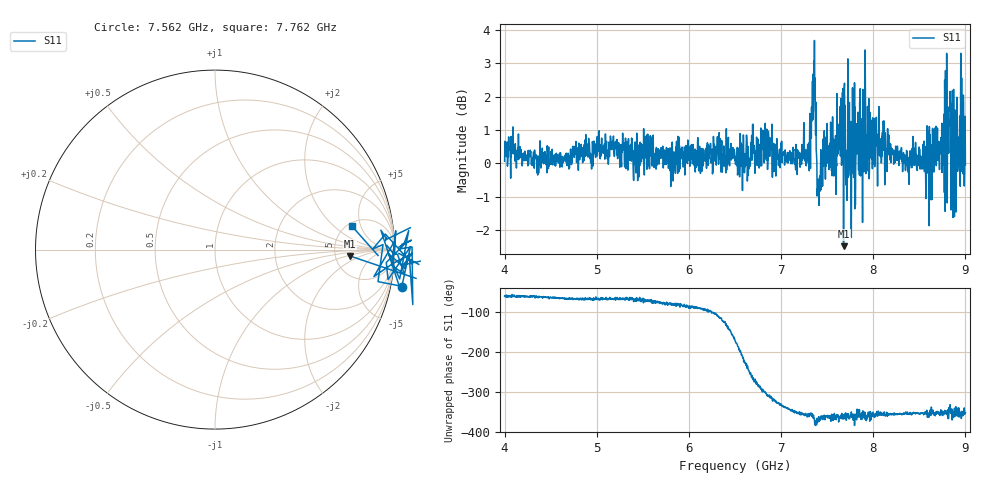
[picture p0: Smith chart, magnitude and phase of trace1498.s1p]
! Created with skrf 1.8.0 (http://scikit-rf.org).
# Hz S RI R 50.0
!freq ReS11 ImS11
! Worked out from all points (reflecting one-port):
!   1601 points, 4 GHz to 9 GHz, reference 50 ohm
!   lowest |S11| = -2.5 dB at 7.678 GHz (marker M1), VSWR 7.04, Z = 343 - j54.9 ohm
!   phase of S11 starts at -61 deg and turns -292 deg over the sweep
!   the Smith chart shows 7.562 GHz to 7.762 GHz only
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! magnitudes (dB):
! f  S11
! 4 GHz  0.1
! 4.625 GHz  -0.1
! 5.156 GHz  0.4
! 5.25 GHz  -0.1
! 5.875 GHz  0.3
! 6.5 GHz  0.1
! 6.819 GHz  0.3
! 6.928 GHz  0.0
! 7.125 GHz  0.2
! 7.281 GHz  0.3
! 7.309 GHz  0.8
! 7.347 GHz  2.7
! 7.362 GHz  3.7
! 7.397 GHz  -0.9
! 7.412 GHz  -1.3
! 7.481 GHz  -0.5
! 7.572 GHz  -0.4
! 7.65 GHz  1.9
! 7.678 GHz  -2.5
! 7.75 GHz  0.0
! 7.928 GHz  0.8
! 8.375 GHz  0.1
! 8.441 GHz  -0.1
! 8.581 GHz  0.0
! 8.809 GHz  0.4
! 8.869 GHz  0.0
! 8.956 GHz  0.3
! 9 GHz  0.0
